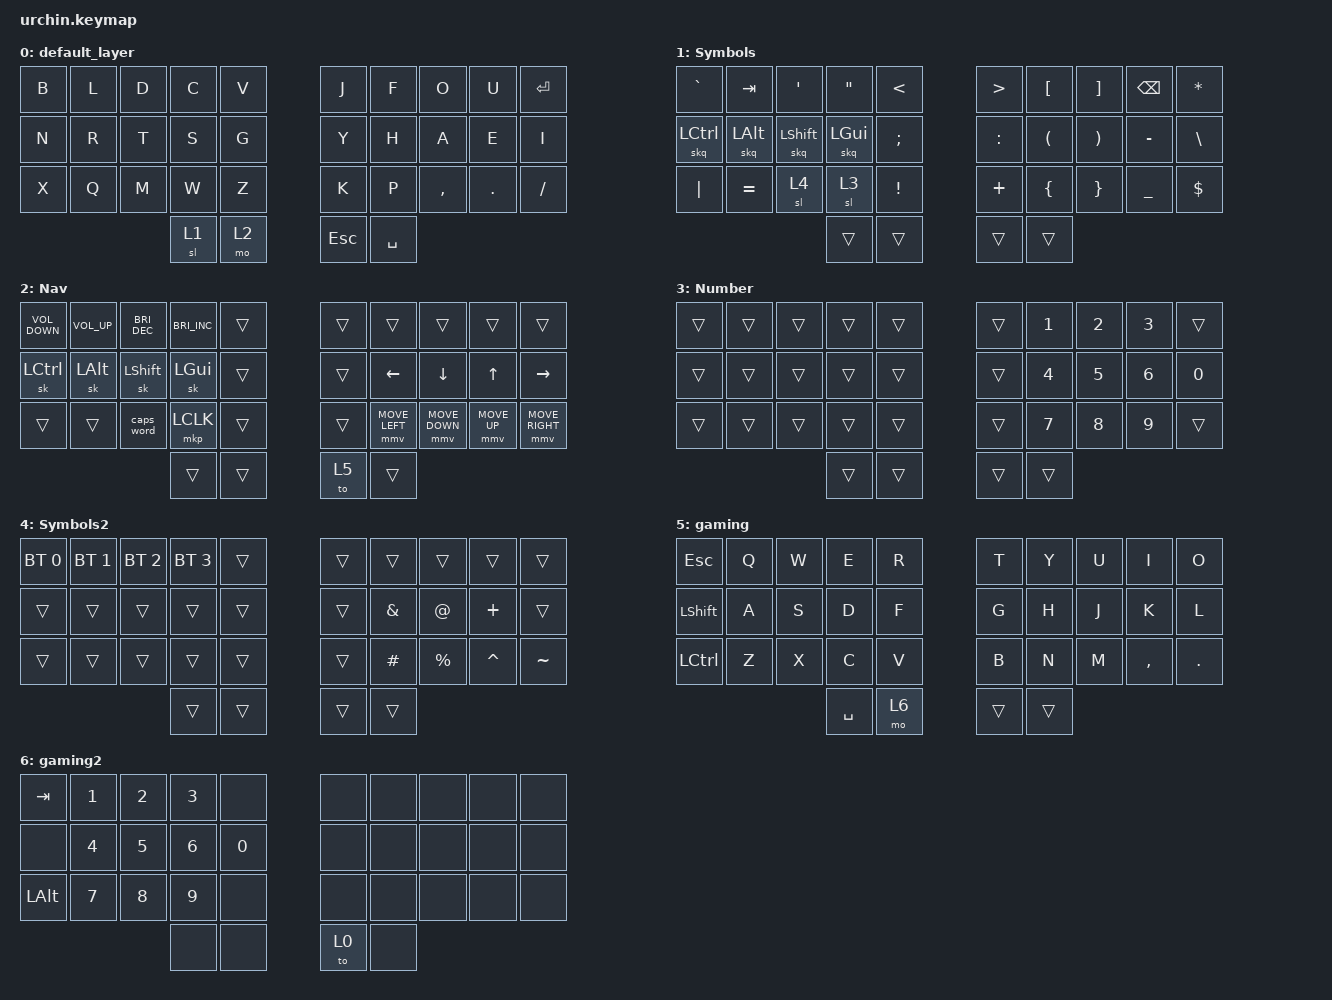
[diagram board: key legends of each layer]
/*
 * Copyright (c) 2020 The ZMK Contributors
 *
 * SPDX-License-Identifier: MIT
 */

#include <behaviors.dtsi>
#include <dt-bindings/zmk/bt.h>
#include <dt-bindings/zmk/keys.h>
#include <dt-bindings/zmk/pointing.h>

&caps_word { continue-list = <UNDERSCORE BACKSPACE DELETE MINUS>; };

/ {
    behaviors {
        skq: sticky_key_quick_release {
            compatible = "zmk,behavior-sticky-key";
            #binding-cells = <1>;
            bindings = <&kp>;
            release-after-ms = <1000>;
            quick-release;
            ignore-modifiers;
        };

        shift_caps_word: shift_caps_word {
            compatible = "zmk,behavior-hold-tap";
            #binding-cells = <2>;
            bindings = <&kp>, <&caps_word>;

            tapping-term-ms = <200>;
            flavor = "balanced";
        };
    };

    combos { compatible = "zmk,combos"; };

    keymap {
        compatible = "zmk,keymap";

        default_layer {
            // ---------------------------------------------------------
            // |  B  |  L  |  D  |  C  |  V  |   |  J  |  F  |  O  |  U  | RET |
            // |  N  |  R  |  T  |  S  |  G  |   |  Y  |  H  |  A  |  E  |  I  |
            // |  X  |  Q  |  M  |  W  |  Z  |   |  K  |  P  | ,/; | ./: |  /  |
            //                   | SYM | NAV |   | ESC | SPC |

            bindings = <
&kp B  &kp L  &kp D  &kp C  &kp V  &kp J       &kp F      &kp O      &kp U    &kp RET
&kp N  &kp R  &kp T  &kp S  &kp G  &kp Y       &kp H      &kp A      &kp E    &kp I
&kp X  &kp Q  &kp M  &kp W  &kp Z  &kp K       &kp P      &kp COMMA  &kp DOT  &kp SLASH
                     &sl 1  &mo 2  &kp ESCAPE  &kp SPACE
            >;
        };

        Symbols {
            // ---------------------------------------------------------
            // |  `   |  TAB  |  '   |  "   |     |   |     |  [  |  ]  | BSPC |  *  |
            // | sCTL | sALT  | sSFT | sGUI |     |   |     |  (  |  )  |  -   |  \  |
            // |      |       | SYM2 | NUM  |     |   |     |  {  |  }  |  _   |  $  |
            //                       |      |     |   |     |     |

            bindings = <
&kp GRAVE   &kp TAB        &kp SINGLE_QUOTE  &kp DOUBLE_QUOTES  &kp LESS_THAN    &kp GREATER_THAN  &kp LEFT_BRACKET      &kp RIGHT_BRACKET      &kp BACKSPACE  &kp ASTRK
&skq LCTRL  &skq LEFT_ALT  &skq LEFT_SHIFT   &skq LEFT_GUI      &kp SEMI         &kp COLON         &kp LEFT_PARENTHESIS  &kp RIGHT_PARENTHESIS  &kp MINUS      &kp BACKSLASH
&kp PIPE    &kp EQUAL      &sl 4             &sl 3              &kp EXCLAMATION  &kp PLUS          &kp LEFT_BRACE        &kp RIGHT_BRACE        &kp UNDER      &kp DOLLAR
                                             &trans             &trans           &trans            &trans
            >;
        };

        Nav {
            // ---------------------------------------------------------
            // | VOLDN | VOLUP | BRI- | BRI+ |     |   | LCLK | MDN | MUP | CAPS |      |
            // |       |       |      |      |     |   | LFT  | DWN | UP  | RGT  |      |
            // |       |       | MLFT | MRGT |     |   |      |     |     |      | BOOT |
            //                        |      |     |   |      |     |

            bindings = <
&kp C_VOLUME_DOWN  &kp C_VOLUME_UP  &kp C_BRIGHTNESS_DEC           &kp C_BRIGHTNESS_INC  &trans  &trans  &trans          &trans          &trans        &trans
&sk LCTRL          &sk LEFT_ALT     &sk LEFT_SHIFT                 &sk LEFT_GUI          &trans  &trans  &kp LEFT_ARROW  &kp DOWN_ARROW  &kp UP_ARROW  &kp RIGHT
&trans             &trans           &caps_word                     &mkp LCLK             &trans  &trans  &mmv MOVE_LEFT  &mmv MOVE_DOWN  &mmv MOVE_UP  &mmv MOVE_RIGHT
                                                                   &trans                &trans  &to 5   &trans
            >;
        };

        Number {
            // ---------------------------------------------------------
            // |     |     |     |     |     |   |     |  1  |  2  |  3  |     |
            // |     |     |     |     |     |   |     |  4  |  5  |  6  |  0  |
            // |     |     |     |     |     |   |     |  7  |  8  |  9  |     |
            //                   |     |     |   |     |     |

            bindings = <
&trans  &trans  &trans  &trans  &trans  &trans  &kp N1  &kp N2  &kp N3  &trans
&trans  &trans  &trans  &trans  &trans  &trans  &kp N4  &kp N5  &kp N6  &kp N0
&trans  &trans  &trans  &trans  &trans  &trans  &kp N7  &kp N8  &kp N9  &trans
                        &trans  &trans  &trans  &trans
            >;
        };

        Symbols2 {
            // ---------------------------------------------------------
            // |     |     |     |     |     |   |     |  @  |  !  |  <  |  >  |
            // |     |     |     |     |     |   |     |  =  |  &  |  +  |  ~  |
            // |     |     |     |     |     |   |     |  #  |  %  |  ^  |  |  |
            //                   |     |     |   |     |     |

            bindings = <
&bt BT_SEL 0  &bt BT_SEL 1  &bt BT_SEL 2  &bt BT_SEL 3  &trans  &trans  &trans     &trans       &trans     &trans
&trans        &trans        &trans        &trans        &trans  &trans  &kp AMPS   &kp AT       &kp PLUS   &trans
&trans        &trans        &trans        &trans        &trans  &trans  &kp POUND  &kp PERCENT  &kp CARET  &kp TILDE
                                          &trans        &trans  &trans  &trans
            >;
        };

        gaming {
            bindings = <
&kp ESCAPE      &kp Q  &kp W  &kp E      &kp R  &kp T   &kp Y   &kp U  &kp I      &kp O
&kp LEFT_SHIFT  &kp A  &kp S  &kp D      &kp F  &kp G   &kp H   &kp J  &kp K      &kp L
&kp LCTRL       &kp Z  &kp X  &kp C      &kp V  &kp B   &kp N   &kp M  &kp COMMA  &kp DOT
                              &kp SPACE  &mo 6  &trans  &trans
            >;
        };

        gaming2 {
            bindings = <
&kp TAB       &kp N1  &kp N2  &kp N3  &none   &none  &none  &none  &none  &none
&none         &kp N4  &kp N5  &kp N6  &kp N0  &none  &none  &none  &none  &none
&kp LEFT_ALT  &kp N7  &kp N8  &kp N9  &none   &none  &none  &none  &none  &none
                              &none   &none   &to 0  &none
            >;
        };
    };

    conditional_layers { compatible = "zmk,conditional-layers"; };
};
